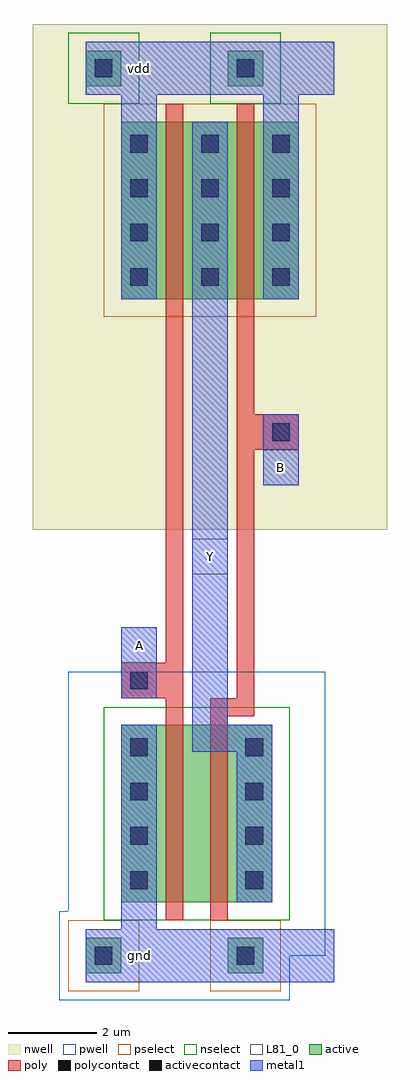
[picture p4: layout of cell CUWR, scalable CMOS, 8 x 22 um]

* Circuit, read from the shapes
.subckt CUWR A B Y gnd vdd
M1 n1 A gnd gnd nfet w=4u l=0.4u
M2 Y B n1 gnd nfet w=4u l=0.4u
M3 Y A vdd vdd pfet w=4u l=0.4u
M4 vdd B Y vdd pfet w=4u l=0.4u
.ends

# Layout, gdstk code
import gdstk
lib = gdstk.Library(unit=1e-6, precision=1e-09)
def R(c, l, rs):  # rectangles x0, y0, x1, y1
    for r in rs: c.add(gdstk.rectangle(r[:2], r[2:], *l))
def A(c, l, x, y, w, h, nx, ny, dx, dy):  # array of equal rectangles
    R(c, l, [(x+i*dx, y+j*dy, x+i*dx+w, y+j*dy+h) for i in range(nx) for j in range(ny)])
pwell = (41, 0)
nwell = (42, 0)
active = (43, 0)
pselect = (44, 0)
nselect = (45, 0)
poly = (46, 0)
polycontact = (47, 0)
activecontact = (48, 0)
metal1 = (49, 0)
L81_0 = (81, 0)

cuwr = lib.new_cell('CUWR')
R(cuwr, pwell, [(-1,-1,4.2,0), (-1,0,5,1), (-0.8,1,5,6.4)])
R(cuwr, nwell, [(-1.6,9.6,6.4,21)])
R(cuwr, active, [(-0.4,-0.4,0.4,0.4), (2.8,-0.4,3.6,0.4), (0.4,1.2,3.8,5.2), (0.4,14.8,4.4,18.8), (-0.4,19.6,0.4,20.4), (2.8,19.6,3.6,20.4)])
R(cuwr, pselect, [(-0.8,-0.8,0.8,0.8), (2.4,-0.8,4,0.8), (0,14.4,4.8,19.2)])
R(cuwr, nselect, [(0,0.8,4.2,5.6), (-0.8,19.2,0.8,20.8), (2.4,19.2,4,20.8)])
R(cuwr, poly, [(1.4,0.8,1.8,5.8), (2.4,0.8,2.8,5.4), (2.4,5.4,3.4,5.8), (0.4,5.8,1.8,6.6), (3,5.8,3.4,11.4), (1.4,6.6,1.8,19.2), (3,11.4,4.4,12.2), (3,12.2,3.4,19.2)])
R(cuwr, polycontact, [(0.6,6,1,6.4), (3.8,11.6,4.2,12)])
A(cuwr, activecontact, 0.6, 1.5, 0.4, 0.4, 1, 4, 0, 1)
A(cuwr, activecontact, 3.2, 1.5, 0.4, 0.4, 1, 4, 0, 1)
A(cuwr, activecontact, 0.6, 15.1, 0.4, 0.4, 3, 4, 1.6, 1)
R(cuwr, activecontact, [(-0.2,-0.2,0.2,0.2), (3,-0.2,3.4,0.2), (-0.2,19.8,0.2,20.2), (3,19.8,3.4,20.2)])
R(cuwr, metal1, [(-0.4,-0.6,5.2,0.6), (0.4,0.6,1.2,5.2), (3,1.2,3.8,4.6), (2,4.6,3.8,5.2), (2,5.2,2.8,18.8), (0.4,5.8,1.2,7.4), (3.6,10.6,4.4,12.2), (0.4,14.8,1.2,19.4), (3.6,14.8,4.4,19.4), (-0.4,19.4,5.2,20.6)])
R(cuwr, L81_0, [(0.4,6.6,1.2,7.4), (2,8.6,2.8,9.4), (3.6,10.6,4.4,11.4)])
cuwr.add(gdstk.Label('vdd', (0.8,20), layer=49, texttype=0))
cuwr.add(gdstk.Label('Y', (2.4,9), layer=49, texttype=0))
cuwr.add(gdstk.Label('gnd', (0.8,0), layer=49, texttype=0))
cuwr.add(gdstk.Label('A', (0.8,7), layer=49, texttype=0))
cuwr.add(gdstk.Label('B', (4,11), layer=49, texttype=0))

lib.write_gds('CUWR.gds')
